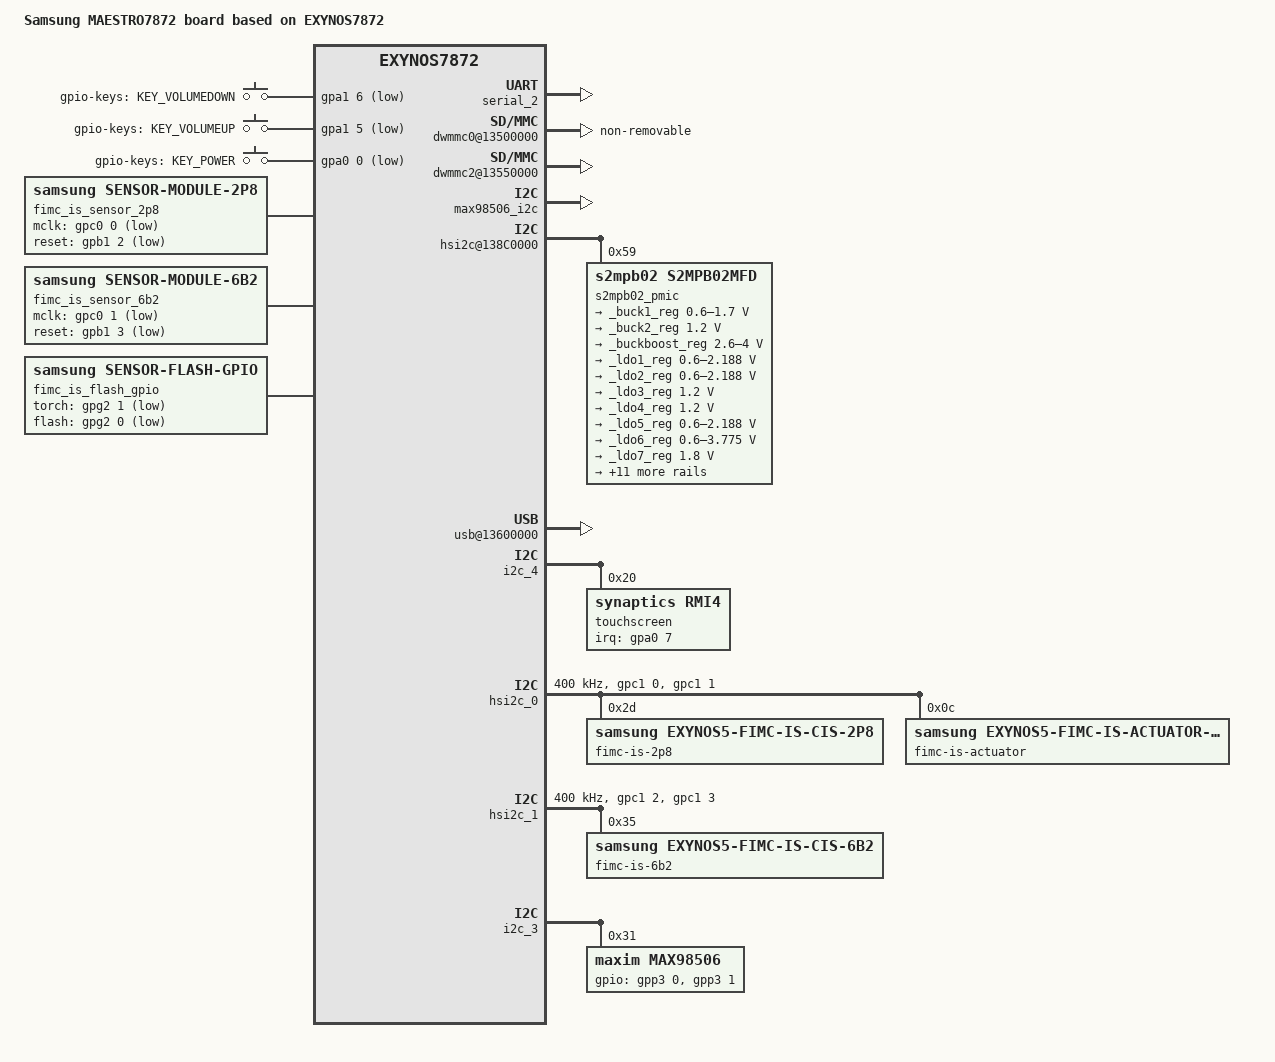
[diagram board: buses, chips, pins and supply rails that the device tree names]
/*
 * SAMSUNG MAESTRO7872 board device tree source
 *
 * Copyright (c) 2013 Samsung Electronics Co., Ltd.
 *		http://www.samsung.com
 *
 * This program is free software; you can redistribute it and/or modify
 * it under the terms of the GNU General Public License version 2 as
 * published by the Free Software Foundation.
*/

/dts-v1/;
#include "exynos7872.dtsi"
#include "exynos7872-display-lcd.dtsi"
#include "exynos7872-ifpmic.dtsi"
#include "exynos7872-rmem.dtsi"
#include "modem-ss317ap-pdata.dtsi"

/ {
	model = "Samsung MAESTRO7872 board based on EXYNOS7872";
	compatible = "samsung,exynos7872", "samsung,MAESTRO7872";

	ect {
		parameter_address = <0x90000000>;
		parameter_size = <0x19000>;
	};

	memory@80000000 {
		device_type = "memory";

		reg = <0x0 0x80000000 0x80000000>;
	};

	memory@880000000 {
		device_type = "memory";
		reg = <0x00000008 0x80000000 0x40000000>;
	};

	chosen {
		bootargs = "console=ttySAC2,115200 root=/dev/ram0 clk_ignore_unused bcm_setup=0xffffff80f8e00000 androidboot.hardware=samsungexynos7872 androidboot.selinux=permissive ess_setup=0x86000000 firmware_class.path=/vendor/firmware reserve-fimc=0xffffff80fa000000 ecd_setup=normal";
		linux,initrd-start = <0x84000000>;
		linux,initrd-end = <0x840FFFFF>;
	};

	fixed-rate-clocks {
		oscclk {
			compatible = "samsung,exynos7872-oscclk";
			clock-frequency = <26000000>;
		};
	};

	usi_2: usi@10032008 {
		usi_mode = "spi";
		status = "okay";
	};

	serial_2: uart@13820000 {
		status = "okay";
	};

	dwmmc0@13500000 {
		status = "okay";
		num-slots = <1>;
		broken-cd;
		fixed_voltage;
		supports-highspeed;
		mmc-ddr-1_8v;
		mmc-hs200-1_8v;
		mmc-hs400-1_8v;
		supports-8bit;
		supports-cmd23;
		supports-erase;
		supports-hs400-enhanced-strobe;
		card-init-hwacg-ctrl;
		support-cmdq;
		fifo-depth = <0x40>;
		non-removable;
		desc-size = <4>;
		card-detect-delay = <200>;
		samsung,dw-mshc-ciu-div = <3>;
		samsung,dw-mshc-txdt-crc-timer-fastlimit = <0x13>;
		samsung,dw-mshc-txdt-crc-timer-initval = <0x15>;
		samsung,dw-mshc-hs400-delay-line = <0x60>;
		samsung,dw-mshc-sdr-timing = <3 0 4 0>;
		samsung,dw-mshc-ddr-timing = <3 0 4 2>;
		samsung,dw-mshc-hs200-timing = <3 0 3 0>;
		samsung,dw-mshc-hs400-timing = <1 0 4 0>;
		samsung,dw-mshc-hs400-ulp-timing = <3 0 4 0>;

		num-ref-clks = <12>;
		ciu_clkin = <25 50 50 25 50 100 200 50 50 200 200 200>;

		/* Swapping clock drive strength */
		clk-drive-number = <6>;
		pinctrl-names = "default",
			"fast-slew-rate-1x",
			"fast-slew-rate-2x",
			"fast-slew-rate-3x",
			"fast-slew-rate-4x",
			"fast-slew-rate-5x",
			"fast-slew-rate-6x";
		pinctrl-0 = <&sd0_clk &sd0_cmd &sd0_rdqs &sd0_bus1 &sd0_bus4 &sd0_bus8>;
		pinctrl-1 = <&sd0_clk_fast_slew_rate_1x>;
		pinctrl-2 = <&sd0_clk_fast_slew_rate_2x>;
		pinctrl-3 = <&sd0_clk_fast_slew_rate_3x>;
		pinctrl-4 = <&sd0_clk_fast_slew_rate_4x>;
		pinctrl-5 = <&sd0_clk_fast_slew_rate_5x>;
		pinctrl-6 = <&sd0_clk_fast_slew_rate_6x>;
		slot@0 {
			reg = <0>;
			bus-width = <8>;
		};

	};

	dwmmc1@13510000 {
		status = "disabled";
		num-slots = <1>;
		channel = <1>;
		fixed_voltage;
		enable-cclk-on-suspend;
		caps-control;
		supports-highspeed;
		supports-4bit;
		keep-power-in-suspend;
		pm-ignore-notify;
		card-detect-type-external;
		use-broken-voltage;
		use-fine-tuning;
		ignore-phase = <(1 << 7)>;
		fifo-depth = <0x40>;
		card-detect-delay = <200>;
		samsung,dw-mshc-ciu-div = <3>;
		samsung,dw-mshc-sdr-timing = <3 0 2 0>;
		samsung,dw-mshc-ddr-timing = <3 0 2 1>;
		samsung,dw-mshc-sdr50-timing = <3 0 4 2>;
		samsung,dw-mshc-sdr104-timing = <3 0 3 0>;

		num-ref-clks = <9>;
		ciu_clkin = <25 50 50 25 50 100 200 50 50>;

		clk-drive-number = <4>;
		pinctrl-names = "default",
			"fast-slew-rate-1x",
			"fast-slew-rate-2x",
			"fast-slew-rate-3x",
			"fast-slew-rate-4x";
		pinctrl-0 = <&sd1_clk &sd1_cmd &sd1_bus1 &sd1_bus4>;
		pinctrl-1 = <&sd1_clk_fast_slew_rate_1x>;
		pinctrl-2 = <&sd1_clk_fast_slew_rate_2x>;
		pinctrl-3 = <&sd1_clk_fast_slew_rate_3x>;
		pinctrl-4 = <&sd1_clk_fast_slew_rate_4x>;
		slot@0 {
			reg = <0>;
			bus-width = <4>;
		};
	};

	dwmmc2@13550000 {
		status = "okay";
		num-slots = <1>;
		supports-4bit;
		supports-cmd23;
		supports-erase;
		sd-uhs-sdr50;
		sd-uhs-sdr104;
		card-detect-gpio;
		bypass-for-allpass;
		use-fine-tuning;
		card-init-hwacg-ctrl;
		only_once_tune;
		skip-init-mmc-scan;
		ignore-phase = <(1 << 7)>;
		fifo-depth = <0x40>;
		desc-size = <4>;
		card-detect-delay = <200>;
		samsung,dw-mshc-ciu-div = <3>;
		clock-frequency = <800000000>;
		samsung,dw-mshc-sdr-timing = <3 0 2 0>;
		samsung,dw-mshc-ddr-timing = <3 0 2 1>;
		samsung,dw-mshc-sdr50-timing = <3 0 4 2>;
		samsung,dw-mshc-sdr104-timing = <3 0 3 0>;

		num-ref-clks = <9>;
		ciu_clkin = <25 50 50 25 50 100 200 50 50>;

		/* Swapping clock drive strength */
		clk-drive-number = <4>;
		pinctrl-names = "default",
			"fast-slew-rate-1x",
			"fast-slew-rate-2x",
			"fast-slew-rate-3x",
			"fast-slew-rate-4x";
		pinctrl-0 = <&sd2_clk &sd2_cmd &sd2_bus1 &sd2_bus4 &dwmmc2_cd_ext_irq>;
		pinctrl-1 = <&sd2_clk_fast_slew_rate_1x>;
		pinctrl-2 = <&sd2_clk_fast_slew_rate_2x>;
		pinctrl-3 = <&sd2_clk_fast_slew_rate_3x>;
		pinctrl-4 = <&sd2_clk_fast_slew_rate_4x>;

		card-detect = <&gpa0 5 0xf>;
		slot@0 {
			reg = <0>;
			bus-width = <4>;
			disable-wp;
		};
	};

	exynos-snapshot {
		compatible = "samsung,exynos-snapshot";
	};

	dsim_0: dsim@0x14870000 {
		lcd_info = <&s6e3fa0>;
		gpios = <&gpg1 7 1>, <&gpg2 2 1>;
	};

	pinctrl@11CB0000 {
		pmic_irq: pmic-irq {
			samsung,pins = "gpa0-1";
			samsung,pin-pud = <3>;
			samsung,pin-drv = <3>;
		};
		sub_pmic_irq: sub-pmic-irq {
			samsung,pins = "gpa1-1";
			samsung,pin-function = <0>;
			samsung,pin-pud = <0>;
			samsung,pin-drv = <0>;
		};
	};

	pinctrl@139B0000 {
		/* Warm reset information from AP */
		pm_wrsti: pm-wrsti {
			samsung,pins = "gpg1-2";
			samsung,pin-con-pdn = <3>;
		};
	};

	exynos_rgt {
		compatible = "samsung,exynos-rgt";
	};

	but_zones: but_zones {
		#list-but-cells = <3>;
	};

	hsi2c@138C0000 {
		status = "okay";
		s2mpb02_pmic@59 {
			compatible = "s2mpb02,s2mpb02mfd";
			reg = <0x59>;

			s2mpb02,wakeup;
			pinctrl-names = "default";
			pinctrl-0 = <&sub_pmic_irq>;

			regulators {
				_buck1_reg: s2mpb02-buck1 {
					regulator-name = "S2MPB02_BUCK1";
					regulator-min-microvolt = <600000>;
					regulator-max-microvolt = <1700000>;
					regulator-always-on;
					regulator-boot-on;
				};

				_buck2_reg: s2mpb02-buck2 {
					regulator-name = "DVDD_REAR_CAM_1V2";
					regulator-min-microvolt = <1200000>;
					regulator-max-microvolt = <1200000>;
				};

				_buckboost_reg: s2mpb02-bb {
					regulator-name = "S2MPB02_BB";
					regulator-min-microvolt = <2600000>;
					regulator-max-microvolt = <4000000>;
					regulator-always-on;
					regulator-boot-on;
				};

				_ldo1_reg: s2mpb02-ldo1 {
					regulator-name = "S2MPB02_LDO1";
					regulator-min-microvolt = <600000>;
					regulator-max-microvolt = <2187500>;
					regulator-always-on;
					regulator-boot-on;
				};

				_ldo2_reg: s2mpb02-ldo2 {
					regulator-name = "S2MPB02_LDO2";
					regulator-min-microvolt = <600000>;
					regulator-max-microvolt = <2187500>;
					regulator-always-on;
					regulator-boot-on;
				};

				_ldo3_reg: s2mpb02-ldo3 {
					regulator-name = "ldo3";
					regulator-min-microvolt = <1200000>;
					regulator-max-microvolt = <1200000>;
				};

				_ldo4_reg: s2mpb02-ldo4 {
					regulator-name = "SVDD12";
					regulator-min-microvolt = <1200000>;
					regulator-max-microvolt = <1200000>;
					regulator-always-on;
					regulator-boot-on;
				};

				_ldo5_reg: s2mpb02-ldo5 {
					regulator-name = "S2MPB02_LDO5";
					regulator-min-microvolt = <600000>;
					regulator-max-microvolt = <2187500>;
					regulator-always-on;
					regulator-boot-on;
				};

				_ldo6_reg: s2mpb02-ldo6 {
					regulator-name = "S2MPB02_LDO6";
					regulator-min-microvolt = <600000>;
					regulator-max-microvolt = <3775000>;
					regulator-always-on;
					regulator-boot-on;
				};

				_ldo7_reg: s2mpb02-ldo7 {
					regulator-name = "ldo7";
					regulator-min-microvolt = <1800000>;
					regulator-max-microvolt = <1800000>;
				};

				_ldo8_reg: s2mpb02-ldo8 {
					regulator-name = "DOVDD_REAR_CAM_1V8";
					regulator-min-microvolt = <1800000>;
					regulator-max-microvolt = <1800000>;
				};

				_ldo9_reg: s2mpb02-ldo9 {
					regulator-name = "DOVDD_VT_CAM_1V8";
					regulator-min-microvolt = <1800000>;
					regulator-max-microvolt = <1800000>;
				};

				_ldo10_reg: s2mpb02-ldo10 {
					regulator-name = "S2MPB02_LDO10";
					regulator-min-microvolt = <600000>;
					regulator-max-microvolt = <3775000>;
					regulator-always-on;
					regulator-boot-on;
				};

				_ldo11_reg: s2mpb02-ldo11 {
					regulator-name = "VDD_REAR_CAM_SENSOR_2V8";
					regulator-min-microvolt = <2800000>;
					regulator-max-microvolt = <2800000>;
				};

				_ldo12_reg: s2mpb02-ldo12 {
					regulator-name = "VDD_REAR_CAM_AF_2V8";
					regulator-min-microvolt = <2800000>;
					regulator-max-microvolt = <2800000>;
				};

				_ldo13_reg: s2mpb02-ldo13 {
					regulator-name = "ldo13";
					regulator-min-microvolt = <2800000>;
					regulator-max-microvolt = <2800000>;
				};

				_ldo14_reg: s2mpb02-ldo14 {
					regulator-name = "VDD_VT_CAM_2V8";
					regulator-min-microvolt = <2800000>;
					regulator-max-microvolt = <2800000>;
				};

				_ldo15_reg: s2mpb02-ldo15 {
					regulator-name = "ldo15";
					regulator-min-microvolt = <2800000>;
					regulator-max-microvolt = <2800000>;
				};

				_ldo16_reg: s2mpb02-ldo16 {
					regulator-name = "ldo16";
					regulator-min-microvolt = <2900000>;
					regulator-max-microvolt = <2900000>;
				};

				_ldo17_reg: s2mpb02-ldo17 {
					regulator-name = "ldo17";
					regulator-min-microvolt = <2800000>;
					regulator-max-microvolt = <2800000>;
				};

				_ldo18_reg: s2mpb02-ldo18 {
					regulator-name = "vdd_ldo18";
					regulator-min-microvolt = <600000>;
					regulator-max-microvolt = <3775000>;
					regulator-always-on;
					regulator-boot-on;
				};
			};

			torch {
				torch1-gpio = "gpg2-1";
				flash1-gpio = "gpg2-0";

				status = "okay";

				leds1 {
					ledname = "leds-sec1";
					id = <0>;
					brightness = <0xC>;
					timeout = <0x3>;
				};

				leds2 {
					ledname = "torch-sec1";
					id = <1>;
					brightness = <0xC>;
					timeout = <0xF>;
				};
			};
		};
	};

	speedy@11CE0000 {
			status = "okay";
			audio_codec_cod3034x: cod3034x@03 {
			compatible = "codec,cod3034x";
			reg = <0x03>;
			i2c-speedy-address;
			vdd-supply = <&l27_reg>;
			pinctrl-names = "default";
			mic-bias1-voltage = <3>;
			mic-bias2-voltage = <3>;
			mic-bias-ldo-voltage = <3>;
			use-btn-adc-mode;
			io-channels = <&exynos_adc 3>;
			io-channel-names = "adc-jack";
			#io-channel-cells = <1>;
			io-channel-ranges;
			but-zones-list = <&but_zones 226 0 217>,
			<&but_zones 115 400 600>,
			<&but_zones 114 750 1000>,
			<&but_zones 582 1000 1100>;
			mic-adc-range = <1350>;
		};

		s2mpu07mfd@00 {
			compatible = "samsung,s2mpu07mfd";
			acpm-ipc-channel = <2>;
			i2c-speedy-address;
			s2mpu07,wakeup = "enabled";
			s2mpu07,irq-gpio = <&gpa0 1 0>;
			reg = <0x00>;
			interrupts = <1 0 0>;
			interrupt-parent = <&gpa0>;
			pinctrl-names = "default";
			pinctrl-0 = <&pmic_irq &pm_wrsti>;
			/* RTC: wtsr/smpl */
			wtsr_en = "enabled"; /* enable */
			smpl_en = "enabled"; /* enable */
			wtsr_timer_val = <3>;	/* 1000ms */
			smpl_timer_val = <4>;	/* 500ms */
			check_jigon = <0>; /* do not check jigon */
			/* RTC: If it's first boot, reset rtc to 1/1/2016 12:00:00(Wed) */
			init_time,sec = <0>;
			init_time,min = <0>;
			init_time,hour = <12>;
			init_time,mday = <1>;
			init_time,mon = <0>;
			init_time,year = <116>;
			init_time,wday = <5>;

			samsung,codec-interrupt = <&audio_codec_cod3034x>;

			regulators {
				b1_reg: BUCK1 {
					regulator-name = "vdd_cpucl0";
					regulator-min-microvolt = <600000>;
					regulator-max-microvolt = <1300000>;
					regulator-always-on;
					regulator-ramp-delay = <12000>;
					regulator-initial-mode = <1>;
				};

				b2_reg: BUCK2 {
					regulator-name = "vdd_int";
					regulator-min-microvolt = <500000>;
					regulator-max-microvolt = <1000000>;
					regulator-always-on;
					regulator-ramp-delay = <12000>;
					regulator-initial-mode = <2>;
				};

				b3_reg: BUCK3 {
					regulator-name = "vdd_g3d";
					regulator-min-microvolt = <600000>;
					regulator-max-microvolt = <1200000>;
					regulator-always-on;
					regulator-ramp-delay = <12000>;
					regulator-initial-mode = <2>;
				};

				b4_reg: BUCK4{
					regulator-name = "vdd_lldo";
					regulator-min-microvolt = <1200000>;
					regulator-max-microvolt = <1500000>;
					regulator-always-on;
					regulator-ramp-delay = <12000>;
					regulator-initial-mode = <3>;
				};

				b5_reg: BUCK5 {
					regulator-name = "vdd_mldo";
					regulator-min-microvolt = <1800000>;
					regulator-max-microvolt = <2100000>;
					regulator-always-on;
					regulator-ramp-delay = <12000>;
					regulator-initial-mode = <3>;
				};

				b6_reg: BUCK6 {
					regulator-name = "vdd_cpucl1";
					regulator-min-microvolt = <500000>;
					regulator-max-microvolt = <1300000>;
					regulator-always-on;
					regulator-ramp-delay = <12000>;
					regulator-initial-mode = <1>;
				};

				l1_reg: LDO1 {
					regulator-name = "vdd_ldo1";
					regulator-min-microvolt = <700000>;
					regulator-max-microvolt = <1300000>;
					regulator-always-on;
					regulator-ramp-delay = <12000>;
					regulator-initial-mode = <3>;
				};

				l2_reg: LDO2 {
					regulator-name = "vqmmc";
					regulator-min-microvolt = <1800000>;
					regulator-max-microvolt = <3375000>;
					regulator-always-on;
					regulator-ramp-delay = <12000>;
					regulator-initial-mode = <1>;
				};

				l3_reg: LDO3 {
					regulator-name = "vdd_ldo3";
					regulator-min-microvolt = <800000>;
					regulator-max-microvolt = <1950000>;
					regulator-always-on;
					regulator-ramp-delay = <12000>;
					regulator-initial-mode = <3>;
				};

				l4_reg: LDO4 {
					regulator-name = "vdd_ldo4";
					regulator-min-microvolt = <500000>;
					regulator-max-microvolt = <1287500>;
					regulator-always-on;
					regulator-ramp-delay = <12000>;
					regulator-initial-mode = <1>;
				};

				l5_reg: LDO5 {
					regulator-name = "vdd_ldo5";
					regulator-min-microvolt = <650000>;
					regulator-max-microvolt = <1287500>;
					regulator-always-on;
					regulator-ramp-delay = <12000>;
					regulator-initial-mode = <3>;
				};

				l6_reg: LDO6 {
					regulator-name = "vdd_ldo6";
					regulator-min-microvolt = <800000>;
					regulator-max-microvolt = <1350000>;
					regulator-always-on;
					regulator-ramp-delay = <12000>;
					regulator-initial-mode = <1>;
				};

				l7_reg: LDO7 {
					regulator-name = "vdd_ldo7";
					regulator-min-microvolt = <800000>;
					regulator-max-microvolt = <1950000>;
					regulator-always-on;
					regulator-ramp-delay = <12000>;
					regulator-initial-mode = <1>;
				};

				l8_reg: LDO8 {
					regulator-name = "vdd_ldo8";
					regulator-min-microvolt = <1800000>;
					regulator-max-microvolt = <3375000>;
					regulator-always-on;
					regulator-ramp-delay = <12000>;
					regulator-initial-mode = <1>;
				};

				l9_reg: LDO9 {
					regulator-name = "vdd_ldo9";
					regulator-min-microvolt = <600000>;
					regulator-max-microvolt = <1300000>;
					regulator-always-on;
					regulator-ramp-delay = <12000>;
					regulator-initial-mode = <1>;
				};

				l10_reg: LDO10 {
					regulator-name = "vdd_ldo10";
					regulator-min-microvolt = <600000>;
					regulator-max-microvolt = <1300000>;
					regulator-always-on;
					regulator-ramp-delay = <12000>;
					regulator-initial-mode = <1>;
				};

				l24_reg: LDO24 {
					regulator-name = "vdd_ldo24";
					regulator-min-microvolt = <700000>;
					regulator-max-microvolt = <1850000>;
					regulator-always-on;
					regulator-ramp-delay = <12000>;
					regulator-initial-mode = <1>;
				};

				l25_reg: LDO25 {
					regulator-name = "vdd_ldo25";
					regulator-min-microvolt = <1800000>;
					regulator-max-microvolt = <3375000>;
					regulator-always-on;
					regulator-ramp-delay = <12000>;
					regulator-initial-mode = <1>;
				};

				l26_reg: LDO26 {
					regulator-name = "vdd_ldo26";
					regulator-min-microvolt = <600000>;
					regulator-max-microvolt = <1350000>;
					regulator-always-on;
					regulator-ramp-delay = <12000>;
					regulator-initial-mode = <1>;
				};

				l27_reg: LDO27 {
					regulator-name = "vdd_ldo27";
					regulator-min-microvolt = <800000>;
					regulator-max-microvolt = <1950000>;
					/* regulator-always-on; */
					regulator-ramp-delay = <12000>;
					regulator-initial-mode = <3>;
				};

				l30_reg: LDO30 {
					regulator-name = "vmmc";
					regulator-min-microvolt = <1800000>;
					regulator-max-microvolt = <3375000>;
					regulator-always-on;
					regulator-ramp-delay = <12000>;
					regulator-initial-mode = <3>;
				};

				l31_reg: LDO31 {
					regulator-name = "vdd_ldo31";
					regulator-min-microvolt = <1800000>;
					regulator-max-microvolt = <3375000>;
					regulator-always-on;
					regulator-ramp-delay = <12000>;
					regulator-initial-mode = <3>;
				};

				l32_reg: LDO32 {
					regulator-name = "vdd_ldo32";
					regulator-min-microvolt = <800000>;
					regulator-max-microvolt = <1950000>;
					regulator-ramp-delay = <12000>;
					regulator-initial-mode = <3>;
				};

				l33_reg: LDO33 {
					regulator-name = "vdd_ldo33";
					regulator-min-microvolt = <1800000>;
					regulator-max-microvolt = <3375000>;
					regulator-always-on;
					regulator-ramp-delay = <12000>;
					regulator-initial-mode = <3>;
				};

				l34_reg: LDO34 {
					regulator-name = "vdd_ldo34";
					regulator-min-microvolt = <500000>;
					regulator-max-microvolt = <1287500>;
					regulator-always-on;
					regulator-ramp-delay = <12000>;
					regulator-initial-mode = <1>;
				};
			};
		};
	};

	usb@13600000 {
		status = "okay";
		dwc3 {
			dr_mode = "otg";
			maximum-speed = "super-speed";
		};
	};

	phy@135F0000 {
		status = "okay";

		hs_tune_info = <&usb_hs_tune>;
		ss_tune_info = <&usb_ss_tune>;
	};

	usb_hs_tune:hs_tune {
		status = "disabled";
		/* value = <device host> */
		tx_vref = <0x3 0x3>;
		tx_pre_emp = <0x0 0x0>;
		tx_pre_emp_puls = <0x0 0x0>;
		tx_res	= <0x2 0x2>;
		tx_rise = <0x1 0x1>;
		tx_hsxv = <0x0 0x0>;
		tx_fsls = <0x3 0x3>;
		rx_sqrx = <0x5 0x5>;
		compdis	= <0x3 0x3>;
		otg= <0x2 0x2>;
		/* true : 1, false: 0 */
		/* <enable_user_imp user_imp_value> */
		enable_user_imp = <0 0>;
		/* PHY clk : 1 , FREE clk : 0 */
		is_phyclock = <1>;
	};

	usb_ss_tune:ss_tune {
		status = "disabled";
		/* value = <device host> */
		tx_boost_level = <0x4 0x4>;
		tx_swing_level = <0x1 0x1>;
		tx_swing_full = <0x7F 0x7F>;
		tx_swing_low = <0x7F 0x7F>;
		tx_deemphasis_mode = <0x1 0x1>;
		tx_deemphasis_3p5db = <0x18 0x18>;
		tx_deemphasis_6db = <0x18 0x18>;
		enable_ssc = <0x1 0x1>;
		ssc_range = <0x0 0x1>;
		los_bias = <0x5 0x5>;
		los_mask_val = <0x104 0x104>;
		enable_fixed_rxeq_mode = <0x0 0x0>;
		fix_rxeq_value = <0x4 0x4>;
		set_crport_mpll_charge_pump = <0x0 0x0>;
		set_crport_level_en = <0x0 0x0>;
	};

	usb_notifier {
		compatible = "samsung,usb-notifier";
		udc = <&udc>;
	};

	pinctrl@11CB0000 {
		key_power: key-power {
			samsung,pins = "gpa0-0";
			samsung,pin-function = <0xf>;
			samsung,pin-pud = <0>;
			samsung,pin-drv = <0>;
		};

		key_home: key-home {
			samsung,pins = "gpa1-4";
			samsung,pin-function = <0xf>;
			samsung,pin-pud = <0>;
			samsung,pin-drv = <0>;
		};

		key_voldown: key-voldown {
			samsung,pins = "gpa1-6";
			samsung,pin-function = <0xf>;
			samsung,pin-pud = <0>;
			samsung,pin-drv = <0>;
		};

		key_volup: key-volup {
			samsung,pins = "gpa1-5";
			samsung,pin-function = <0xf>;
			samsung,pin-pud = <0>;
			samsung,pin-drv = <0>;
		};

	};

	gpio_keys {
		status = "okay";
		compatible = "gpio-keys";
		#address-cells = <1>;
		#size-cells = <0>;
		pinctrl-names = "default";
		pinctrl-0 = <&key_voldown &key_volup &key_power>;
		button@1 {
			label = "gpio-keys: KEY_VOLUMEDOWN";
			interrupts = <6 0 0>;
			interrupt-parent = <&gpa1>;
			linux,code = <114>;
			gpios = <&gpa1 6 0xf>;
		};
		button@2 {
			label = "gpio-keys: KEY_VOLUMEUP";
			interrupts = <5 0 0>;
			interrupt-parent = <&gpa1>;
			linux,code = <115>;
			gpios = <&gpa1 5 0xf>;
		};
		button@3 {
			label = "gpio-keys: KEY_POWER";
			interrupts = <0 0 0>;
			interrupt-parent = <&gpa0>;
			linux,code = <116>;
			gpios = <&gpa0 0 0xf>;
			gpio-key,wakeup = <1>;
		};

	};

	pmu_system_controller: system-controller@11c80000 {
		compatible = "samsung,exynos8895-pmu", "syscon";
		reg = <0x0 0x11c80000 0x10000>;
	};

	exynos-pmu {
		compatible = "samsung,exynos-pmu";
		samsung,syscon-phandle = <&pmu_system_controller>;
	};

	mailbox_cp: mcu_ipc@10580000 {
		compatible = "samsung,exynos-shd-ipc-mailbox";
		reg = <0x0 0x10580000 0x180>;
		mcu,name = "mcu_ipc_cp";
		mcu,id = <0>;
		interrupts = <0 54 0 >; /* MAILBOX_TO_AP id Number */
	};

	i2c_4:i2c@13870000 {
		status = "okay";
		#address-cells = <1>;
		#size-cells = <0>;
		touchscreen@20 {
			compatible = "synaptics,rmi4";
			reg = <0x20>;
			pinctrl-names = "on_state", "off_state";
			pinctrl-0 = <&attn_irq &vdd_on>;
			pinctrl-1 = <&attn_input &vdd_off>;
			synaptics,irq_gpio = <&gpa0 7 0>;
			synaptics,irq_type = <8200>;
			synaptics,max_coords = <1440 2560>;     /* x y */
			synaptics,num_lines = <29 16>;          /* rx tx */
			synaptics,regulator_dvdd = "vdd_ldo32";
		};
	};

	pinctrl@11CB0000 {
		attn_irq: attn-irq {
			samsung,pins = "gpa0-7";
			samsung,pin-function = <0xf>;
			samsung,pin-pud = <0>;
			samsung,pin-drv = <0>;
		};
		attn_input: attn-input {
			samsung,pins = "gpa0-7";
			samsung,pin-function = <0>;
			samsung,pin-pud = <1>;
		};
	};
	pinctrl@139B0000 {
		vdd_on: vdd-on {
			samsung,pins = "gpg2-5";
			samsung,pin-function = <2>;
			samsung,pin-val = <1>;
			samsung,pin-pud = <3>;
		};

		vdd_off: vdd-off {
			samsung,pins = "gpg2-5";
			samsung,pin-function = <2>;
			samsung,pin-val = <0>;
			samsung,pin-pud = <1>;
		};

		fimc_is_flash: fimc-is-flash {
			samsung,pins = "gpg2-0", "gpg2-1";
			samsung,pin-function = <1>;
			samsung,pin-pud = <1>;
			samsung,pin-drv = <0>;
		};
	};

	fimc_is@14440000 {
		pinctrl-names = "default","release";
		pinctrl-0 = <>;
		pinctrl-1 = <>;

		rear_sensor_id = <20>; /* 2P8 */
		front_sensor_id = <7>; /* 6B2 */
		use_module_check;
		skip_cal_loading;
		fimc_is_dvfs {
			/* TODO: DVFS level set */
			#define DVFS_INT_L0 533000
			#define DVFS_INT_L1 333000
			#define DVFS_INT_L2 267000
			#define DVFS_INT_L3 178000
			#define DVFS_INT_L4 107000

			#define DVFS_CAM_L0 533000
			#define DVFS_CAM_L1 444000
			#define DVFS_CAM_L2 320000
			#define DVFS_CAM_L3 267000
			#define DVFS_CAM_L4 100000

			#define DVFS_MIF_L0 933000
			#define DVFS_MIF_L1 902000
			#define DVFS_MIF_L2 835000
			#define DVFS_MIF_L3 728000
			#define DVFS_MIF_L4 676000
			#define DVFS_MIF_L5 546000
			#define DVFS_MIF_L6 451000
			#define DVFS_MIF_L7 275000
			#define DVFS_MIF_L8 100000

			table0 {
				desc = "default";

				default_int = <DVFS_INT_L0>;
				default_cam = <DVFS_CAM_L0>;
				default_mif = <DVFS_MIF_L0>;
				default_i2c = <0>;

				front_preview_int = <DVFS_INT_L0>;
				front_preview_cam = <DVFS_CAM_L3>;
				front_preview_mif = <DVFS_MIF_L3>;
				front_preview_i2c = <0>;

				front_video_int = <DVFS_INT_L0>;
				front_video_cam = <DVFS_CAM_L3>;
				front_video_mif = <DVFS_MIF_L3>;
				front_video_i2c = <0>;

				front_vt1_int = <DVFS_INT_L0>;
				front_vt1_cam = <DVFS_CAM_L3>;
				front_vt1_mif = <DVFS_MIF_L4>;
				front_vt1_i2c = <0>;

				front_vt2_int = <DVFS_INT_L0>;
				front_vt2_cam = <DVFS_CAM_L3>;
				front_vt2_mif = <DVFS_MIF_L4>;
				front_vt2_i2c = <0>;

				front_vt4_int = <DVFS_INT_L0>;
				front_vt4_cam = <DVFS_CAM_L3>;
				front_vt4_mif = <DVFS_MIF_L4>;
				front_vt4_i2c = <0>;

				rear_preview_int = <DVFS_INT_L0>;
				rear_preview_cam = <DVFS_CAM_L0>;
				rear_preview_mif = <DVFS_MIF_L0>;
				rear_preview_i2c = <0>;

				rear_video_int = <DVFS_INT_L0>;
				rear_video_cam = <DVFS_CAM_L0>;
				rear_video_mif = <DVFS_MIF_L0>;
				rear_video_i2c = <0>;

				preview_high_speed_fps_int = <DVFS_INT_L0>;
				preview_high_speed_fps_cam = <DVFS_CAM_L3>;
				preview_high_speed_fps_mif = <DVFS_MIF_L3>;
				preview_high_speed_fps_i2c = <0>;

				video_high_speed_60fps_int = <DVFS_INT_L0>;
				video_high_speed_60fps_cam = <DVFS_CAM_L2>;
				video_high_speed_60fps_mif = <DVFS_MIF_L3>;
				video_high_speed_60fps_i2c = <0>;

				video_high_speed_120fps_int = <DVFS_INT_L0>;
				video_high_speed_120fps_cam = <DVFS_CAM_L3>;
				video_high_speed_120fps_mif = <DVFS_MIF_L3>;
				video_high_speed_120fps_i2c = <0>;

				max_int = <DVFS_INT_L0>;
				max_cam = <DVFS_CAM_L0>;
				max_mif = <DVFS_MIF_L0>;
				max_i2c = <0>;
			};

			table1 {
				desc = "DVFS table for HAL3";

				default_int = <DVFS_INT_L0>;
				default_cam = <DVFS_CAM_L0>;
				default_mif = <DVFS_MIF_L0>;
				default_i2c = <0>;

				front_preview_int = <DVFS_INT_L0>;
				front_preview_cam = <DVFS_CAM_L3>;
				front_preview_mif = <DVFS_MIF_L3>;
				front_preview_i2c = <0>;

				front_video_int = <DVFS_INT_L0>;
				front_video_cam = <DVFS_CAM_L3>;
				front_video_mif = <DVFS_MIF_L3>;
				front_video_i2c = <0>;

				front_vt1_int = <DVFS_INT_L0>;
				front_vt1_cam = <DVFS_CAM_L3>;
				front_vt1_mif = <DVFS_MIF_L4>;
				front_vt1_i2c = <0>;

				front_vt2_int = <DVFS_INT_L0>;
				front_vt2_cam = <DVFS_CAM_L3>;
				front_vt2_mif = <DVFS_MIF_L4>;
				front_vt2_i2c = <0>;

				front_vt4_int = <DVFS_INT_L0>;
				front_vt4_cam = <DVFS_CAM_L3>;
				front_vt4_mif = <DVFS_MIF_L4>;
				front_vt4_i2c = <0>;

				rear_preview_int = <DVFS_INT_L0>;
				rear_preview_cam = <DVFS_CAM_L0>;
				rear_preview_mif = <DVFS_MIF_L0>;
				rear_preview_i2c = <0>;

				rear_video_int = <DVFS_INT_L0>;
				rear_video_cam = <DVFS_CAM_L0>;
				rear_video_mif = <DVFS_MIF_L0>;
				rear_video_i2c = <0>;

				preview_high_speed_fps_int = <DVFS_INT_L0>;
				preview_high_speed_fps_cam = <DVFS_CAM_L3>;
				preview_high_speed_fps_mif = <DVFS_MIF_L3>;
				preview_high_speed_fps_i2c = <0>;

				video_high_speed_60fps_int = <DVFS_INT_L0>;
				video_high_speed_60fps_cam = <DVFS_CAM_L3>;
				video_high_speed_60fps_mif = <DVFS_MIF_L3>;
				video_high_speed_60fps_i2c = <0>;

				video_high_speed_120fps_int = <DVFS_INT_L0>;
				video_high_speed_120fps_cam = <DVFS_CAM_L3>;
				video_high_speed_120fps_mif = <DVFS_MIF_L3>;
				video_high_speed_120fps_i2c = <0>;

				max_int = <DVFS_INT_L0>;
				max_cam = <DVFS_CAM_L0>;
				max_mif = <DVFS_MIF_L0>;
				max_i2c = <0>;
			};
		};
	};

	fimc_is_sensor_2p8: fimc-is_sensor_2p8@5A {
		compatible = "samsung,sensor-module-2p8";

		pinctrl-names = "pin0", "pin1", "pin2", "release";
		pinctrl-0 = <>;
		pinctrl-1 = <&fimc_is_flash &fimc_is_mclk0_out>;
		pinctrl-2 = <&fimc_is_flash &fimc_is_mclk0_fn>;
		pinctrl-3 = <>;

		position = <0>;	/* Rear:0. Front:1 */
		id = <0>; /* bns_id */
		mclk_ch = <0>;

		gpio_mclk = <&gpc0 0 0x1>;
		gpio_reset = <&gpb1 2 0x1>; /* sensor reset */
		status = "okay";

		af {
			product_name = <7>; /* AK7345 */
			i2c_addr = <0x18>;
			i2c_ch = <0>;
		};

		flash {
			product_name = <11>; /* FLASH_GPIO */
			flash_first_gpio = <1>; /* DICO not use first, second gpio value */
			flash_second_gpio = <0>;
		};
	};


	fimc_is_sensor_6b2: fimc-is_sensor_6b2@6A {
		compatible = "samsung,sensor-module-6b2";

		pinctrl-names = "pin0", "pin1", "release";
		pinctrl-0 = <&fimc_is_mclk1_out>;
		pinctrl-1 = <&fimc_is_mclk1_fn>;
		pinctrl-2 = <>;

		position = <1>;	/* Rear:0. Front:1 */
		id = <1>; /* bns_id */
		mclk_ch = <1>;

		gpio_mclk = <&gpc0 1 0x1>;
		gpio_reset = <&gpb1 3 0x1>; /* sensor reset */
		status = "okay";

	};

	#define SENSOR_SCENARIO_NORMAL		0
	#define SENSOR_SCENARIO_VISION		1
	#define SENSOR_SCENARIO_EXTERNAL	2
	#define SENSOR_SCENARIO_OIS_FACTORY	3
	#define SENSOR_SCENARIO_VIRTUAL		9
	#define FLITE_ID_NOTHING 100

	fimc_is_sensor0: fimc_is_sensor@14400000 {
		scenario = <SENSOR_SCENARIO_NORMAL>;	/* Normal, Vision, OIS etc */
		id = <0>;
		csi_ch = <0>;
		flite_ch = <FLITE_ID_NOTHING>;
		is_bns = <0>;
		is_flite = <0>;
		status = "okay";
	};

	fimc_is_sensor1: fimc_is_sensor@14410000 {
		scenario = <SENSOR_SCENARIO_NORMAL>;	/* Normal, Vision, OIS etc */
		id = <1>;
		csi_ch = <1>;
		flite_ch = <FLITE_ID_NOTHING>;
		is_bns = <0>;
		is_flite = <0>;
		status = "okay";
	};

	hsi2c_0: hsi2c@138A0000 {
		gpios = <&gpc1 0 0 &gpc1 1 0>;
		status = "okay";
		clock-frequency = <400000>;

		pinctrl-names = "default";
		pinctrl-0 = <&hs_i2c0_bus>;

		fimc-is-2p8@2D {
		     compatible = "samsung,exynos5-fimc-is-cis-2p8";
		     reg = <0x2d>; /* 1 bit right shift */
		     id = <0>; /* matching sensor id */
		     setfile = "default";
		};

		fimc-is-actuator@0C {
		     compatible = "samsung,exynos5-fimc-is-actuator-ak7345";
		     reg = <0x0C>;
		     id = <0>;
		     place = <0>;
		};
	};

	hsi2c_1: hsi2c@138B0000 {
		gpios = <&gpc1 2 0 &gpc1 3 0>;
		status = "okay";
		clock-frequency = <400000>;

		pinctrl-names = "default";
		pinctrl-0 = <&hs_i2c1_bus>;

		fimc-is-6b2@35 {
		     compatible = "samsung,exynos5-fimc-is-cis-6b2";
		     reg = <0x35>; /* 1 bit right shift */
		     id = <1>; /* matching sensor id */
		     setfile = "default";
		};
	};

	fimc_is_flash_gpio: fimc-is-flash_gpio@0 {
		compatible = "samsung,sensor-flash-gpio";
		id = <0>; /* matching sensor id */
		status = "okay";

		torch-gpio = <&gpg2 1 0x1>;
		flash-gpio = <&gpg2 0 0x1>;
	};

	abox_gic: abox_gic@0x14AF0000 {
		status = "okay";
	};

	pinctrl@11CB0000 {	/*gpio alive*/
		max98506_ctrl: max98506-ctl {
			samsung,pins ="gpa2-1";
			samsung,pin-function = <0>;
			samsung,pin-pud = <0>;
			samsung,pin-con-pdn =<2>;
			samsung,pin-pud-pdn = <0>;
		};
	};

	pinctrl@139B0000 {	/*gpio top*/
		max98506_i2c: max98506-i2c {
			samsung,pins = "gpp3-0", "gpp3-1";
			samsung,pin-pud = <0>;
			status = "okay";
		};
	};

	i2c_3: i2c@13860000 {
		status = "okay";
		max98506: max98506@31 {
			compatible = "maxim,max98506";
			#sound-dai-cells = <1>;
			reg = <0x31>;
			pinctrl-names = "default";
			pinctrl-0 = <&max98506_i2c &max98506_ctrl>;
			gpios = <&gpp3 0 0
				&gpp3 1 0
				>;
			i2c-gpio,delay-us = <2>;
			maxim,spk-gain = <0x14>;
			maxim,sysclk = <12288000>;
			maxim,vmon_slot = <0>;
			maxim,platform_info = <2 0x0 0x0 0x0 0x0 42>;
			maxim,boost_step = <
				0x0F 0x0F 0x0F 0x0F
				0x0F 0x0F 0x0F 0x0F
				0x0F 0x0F 0x0F 0x0F
				0x0F 0x0F 0x02 0x00
				>;
			maxim,adc_threshold = <7>;
			maxim,registers-of-amp =
				<0x1F 0x00>,
				<0x21 0xC0>,
				<0x2D 0x14>,
				<0x2F 0x00>;
		};
	};

	abox: abox@0x14A50000 {
		status = "okay";
	};

	dummy_audio_codec: audio_codec_dummy {
		status = "okay";
		compatible = "snd-soc-dummy";
	};

	sound {
		status = "okay";
		compatible = "samsung,exynos7872-cod3034";
		clock-names = "xclkout";
		/*clocks = <&clock OSCCLK_AUD>;*/
		samsung,codec = <&abox>;
		/*samsung,aux = <&abox_effect>;*/

		samsung,routing =  "VOUTPUT", "ABOX UAIF0 Playback",
				 "VOUTPUTCALL", "ABOX UAIF2 Playback",
				 "ABOX UAIF2 Capture", "VINPUTCALL";

		rdma@0 {
			cpu {
				sound-dai = <&abox 0>;
			};
			codec {
				sound-dai = <&audio_codec_cod3034x>;
				/*sound-dai = <&dummy_audio_codec>;*/
			};
		};
		rdma@1 {
			cpu {
				sound-dai = <&abox 1>;
			};
			codec {
				sound-dai = <&dummy_audio_codec>;
			};
		};
		rdma@2 {
			cpu {
				sound-dai = <&abox 2>;
			};
			codec {
				sound-dai = <&dummy_audio_codec>;
			};
		};
		rdma@3 {
			cpu {
				sound-dai = <&abox 3>;
			};
			codec {
				sound-dai = <&dummy_audio_codec>;
			};
		};
		rdma@4 {
			cpu {
				sound-dai = <&abox 4>;
			};
			codec {
				sound-dai = <&dummy_audio_codec>;
			};
		};
		rdma@5 {
			cpu {
				sound-dai = <&abox 5>;
			};
			codec {
				sound-dai = <&dummy_audio_codec>;
			};
		};
		rdma@6 {
			cpu {
				sound-dai = <&abox 6>;
			};
			codec {
				sound-dai = <&dummy_audio_codec>;
			};
		};
		rdma@7 {
			cpu {
				sound-dai = <&abox 7>;
			};
			codec {
				sound-dai = <&dummy_audio_codec>;
			};
		};
		wdma@0 {
			cpu {
				sound-dai = <&abox 8>;
			};
			codec {
				sound-dai = <&dummy_audio_codec>;
			};
		};
		wdma@1 {
			cpu {
				sound-dai = <&abox 9>;
			};
			codec {
				sound-dai = <&dummy_audio_codec>;
			};
		};
		wdma@2 {
			cpu {
				sound-dai = <&abox 10>;
			};
			codec {
				sound-dai = <&dummy_audio_codec>;
			};
		};
		wdma@3 {
			cpu {
				sound-dai = <&abox 11>;
			};
			codec {
				sound-dai = <&dummy_audio_codec>;
			};
		};
		wdma@4 {
			cpu {
				sound-dai = <&abox 12>;
			};
			codec {
				sound-dai = <&dummy_audio_codec>;
			};
		};
		uaif@0 {
			cpu {
				sound-dai = <&abox 13>;
			};
			codec {
				sound-dai = <&audio_codec_cod3034x>;
			};
		};
		uaif@1 {
			cpu {
				sound-dai = <&abox 14>;
			};
			codec {
				sound-dai = <&dummy_audio_codec>;
			};
		};
		uaif@2 {
			cpu {
				sound-dai = <&abox 15>;
			};
			codec {
				sound-dai = <&dummy_audio_codec>;
			};
		};
		uaif@3 {
			cpu {
				sound-dai = <&abox 16>;
			};
			codec {
				sound-dai = <&max98506 0>;
			};
		};
		internal@0 {
			cpu {
				sound-dai = <&abox 17>;
			};
			codec {
				sound-dai = <&dummy_audio_codec>;
			};
		};
	};
};

#include "exynos7872-ecd.dtsi"
